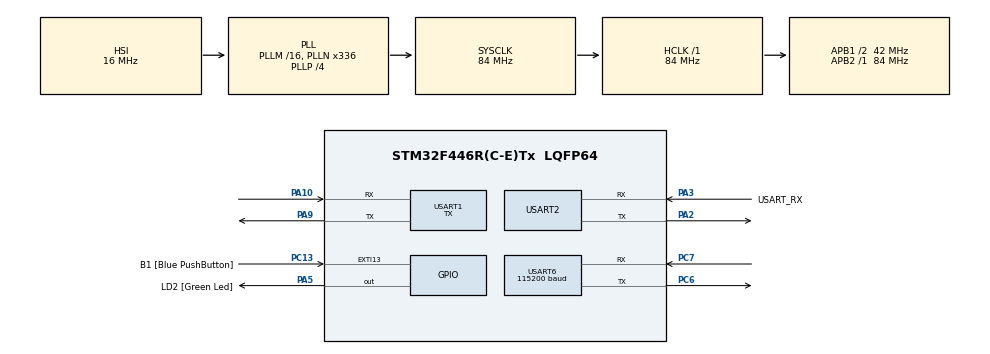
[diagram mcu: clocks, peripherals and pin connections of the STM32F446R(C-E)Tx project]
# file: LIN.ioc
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Mcu.Family=STM32F4
Mcu.Name=STM32F446R(C-E)Tx
Mcu.Package=LQFP64
NVIC.EXTI15_10_IRQn=true\:0\:0\:false\:false\:true\:true\:true
NVIC.PriorityGroup=NVIC_PRIORITYGROUP_0
NVIC.USART2_IRQn=true\:0\:0\:false\:false\:true\:true\:true
NVIC.USART6_IRQn=true\:0\:0\:false\:false\:true\:true\:true
PA10.Mode=LIN
PA10.Signal=USART1_RX
PA13.GPIO_Label=TMS
PA13.Mode=Serial_Wire
PA13.Signal=SYS_JTMS-SWDIO
PA14.GPIO_Label=TCK
PA14.Mode=Serial_Wire
PA14.Signal=SYS_JTCK-SWCLK
PA2.Mode=Asynchronous
PA2.Signal=USART2_TX
PA3.GPIO_Label=USART_RX
PA3.Mode=Asynchronous
PA3.Signal=USART2_RX
PA5.GPIO_Label=LD2 [Green Led]
PA5.Signal=GPIO_Output
PA9.Mode=LIN
PA9.Signal=USART1_TX
PB3.GPIO_Label=SWO
PB3.Signal=SYS_JTDO-SWO
PC13.GPIO_Label=B1 [Blue PushButton]
PC13.GPIO_ModeDefaultEXTI=GPIO_MODE_IT_FALLING
PC13.Signal=GPXTI13
PC14-OSC32_IN.Mode=LSE-External-Oscillator
PC14-OSC32_IN.Signal=RCC_OSC32_IN
PC15-OSC32_OUT.Mode=LSE-External-Oscillator
PC15-OSC32_OUT.Signal=RCC_OSC32_OUT
PC6.Mode=LIN
PC6.Signal=USART6_TX
PC7.Mode=LIN
PC7.Signal=USART6_RX
PH0-OSC_IN.Mode=HSE-External-Oscillator
PH0-OSC_IN.Signal=RCC_OSC_IN
PH1-OSC_OUT.Mode=HSE-External-Oscillator
PH1-OSC_OUT.Signal=RCC_OSC_OUT
ProjectManager.HeapSize=0x200
ProjectManager.StackSize=0x400
ProjectManager.TargetToolchain=STM32CubeIDE
RCC.48MHZClocksFreq_Value=84000000
RCC.AHBFreq_Value=84000000
RCC.APB1CLKDivider=RCC_HCLK_DIV2
RCC.APB1Freq_Value=42000000
RCC.APB1TimFreq_Value=84000000
RCC.APB2Freq_Value=84000000
RCC.APB2TimFreq_Value=84000000
RCC.CortexFreq_Value=84000000
RCC.FLatency-AdvancedSettings=FLASH_LATENCY_2
RCC.HCLKFreq_Value=84000000
RCC.HSE_VALUE=8000000
RCC.HSI_VALUE=16000000
RCC.PLLN=336
RCC.PLLP=RCC_PLLP_DIV4
RCC.SYSCLKFreq_VALUE=84000000
RCC.SYSCLKSource=RCC_SYSCLKSOURCE_PLLCLK
RCC.USBFreq_Value=168000000
RCC.VCOOutputFreq_Value=336000000
USART1.Mode=MODE_TX
USART1.VirtualMode=VM_ASYNC
USART2.VirtualMode=VM_ASYNC
USART6.BaudRate=115200
USART6.Mode=MODE_RX
USART6.Parity=PARITY_EVEN
USART6.VirtualMode=VM_ASYNC
board=NUCLEO-F446RE

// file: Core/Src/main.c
/* USER CODE BEGIN Header */
/**
  ******************************************************************************
  * @file           : main.c
  * @brief          : Main program body
  ******************************************************************************
  * @attention
  *
  * <h2><center>&copy; Copyright (c) 2020 STMicroelectronics.
  * All rights reserved.</center></h2>
  *
  * This software component is licensed by ST under BSD 3-Clause license,
  * the "License"; You may not use this file except in compliance with the
  * License. You may obtain a copy of the License at:
  *                        opensource.org/licenses/BSD-3-Clause
  *
  ******************************************************************************
  */
/* USER CODE END Header */

#include "main.h"

/* USER CODE BEGIN PM */
#define BUFFER_SIZE	100
/* USER CODE END PM */

UART_HandleTypeDef huart1;
UART_HandleTypeDef huart2;
UART_HandleTypeDef huart6;

/* USER CODE BEGIN PV */

char in[BUFFER_SIZE];
char out[BUFFER_SIZE];

int size_out = -1;
int size_in = -1;

int sizeReceived = 0;

/* USER CODE END PV */

void SystemClock_Config(void);
static void MX_GPIO_Init(void);
static void MX_USART1_UART_Init(void);
static void MX_USART6_UART_Init(void);
static void MX_USART2_UART_Init(void);

int main(void)
{

  /* MCU Configuration--------------------------------------------------------*/

  /* Reset of all peripherals, Initializes the Flash interface and the Systick. */
  HAL_Init();

  /* Configure the system clock */
  SystemClock_Config();

  /* Initialize all configured peripherals */
  MX_GPIO_Init();
  MX_USART1_UART_Init();
  MX_USART6_UART_Init();
  MX_USART2_UART_Init();
  /* USER CODE BEGIN 2 */

  srand(time(NULL));

  terminalPrintln("========================================================================================");
  terminalPrintln("Premi il bottone USER per accendere il LED verde.");
  terminalPrintln("Quando il LED è acceso, si inviano randomicamente i nostri nomi e matricole via UART1");
  terminalPrintln("e verranno poi stampati nel terminale inviandole tramite UART2.");
  terminalPrintln("========================================================================================");

  /* USER CODE END 2 */

  /* Infinite loop */
  /* USER CODE BEGIN WHILE */

  while (1)
  {
	  if(HAL_GPIO_ReadPin(GPIOA, GPIO_PIN_5) == GPIO_PIN_SET) {

		  HAL_Delay(1000);

		  int randomNumber = rand() % 100;     // from 0 to 99

		  if(randomNumber<25) {
			  sprintf(out, "ROSA NUZZO M63000917");
		  } else if(randomNumber>=25 && randomNumber<50) {
			  sprintf(out, "MARA MORABITO M63000910");
		  } else if(randomNumber>=50 && randomNumber<75) {
			  sprintf(out, "GIUSEPPE D'ALTERIO M63000880");
		  } else if(randomNumber>=75 && randomNumber<100) {
			  sprintf(out, "FERNANDO DI COSTANZO M63000925");
		  }

		  // Lunghezza stringa + '\0'
		  size_out = strlen(out) + 1;

		  // Receive della dimensione del dato
		  HAL_UART_Receive_IT(&huart6, (uint8_t*)&size_in, sizeof(int));

		  // Transmit della dimensione del dato
		  HAL_UART_Transmit(&huart1, (uint8_t*)&size_out, sizeof(int), 0xFFFF);

		  // Transmit del dato
		  HAL_UART_Transmit(&huart1, (uint8_t*)out, size_out*sizeof(char), 0xFFFF);

	  }
    /* USER CODE END WHILE */

  }
}

void SystemClock_Config(void)
{
  RCC_OscInitTypeDef RCC_OscInitStruct = {0};
  RCC_ClkInitTypeDef RCC_ClkInitStruct = {0};

  /** Configure the main internal regulator output voltage
  */
  __HAL_RCC_PWR_CLK_ENABLE();
  __HAL_PWR_VOLTAGESCALING_CONFIG(PWR_REGULATOR_VOLTAGE_SCALE3);
  /** Initializes the CPU, AHB and APB busses clocks
  */
  RCC_OscInitStruct.OscillatorType = RCC_OSCILLATORTYPE_HSI;
  RCC_OscInitStruct.HSIState = RCC_HSI_ON;
  RCC_OscInitStruct.HSICalibrationValue = RCC_HSICALIBRATION_DEFAULT;
  RCC_OscInitStruct.PLL.PLLState = RCC_PLL_ON;
  RCC_OscInitStruct.PLL.PLLSource = RCC_PLLSOURCE_HSI;
  RCC_OscInitStruct.PLL.PLLM = 16;
  RCC_OscInitStruct.PLL.PLLN = 336;
  RCC_OscInitStruct.PLL.PLLP = RCC_PLLP_DIV4;
  RCC_OscInitStruct.PLL.PLLQ = 2;
  RCC_OscInitStruct.PLL.PLLR = 2;
  if (HAL_RCC_OscConfig(&RCC_OscInitStruct) != HAL_OK)
  {
    Error_Handler();
  }
  /** Initializes the CPU, AHB and APB busses clocks
  */
  RCC_ClkInitStruct.ClockType = RCC_CLOCKTYPE_HCLK|RCC_CLOCKTYPE_SYSCLK
                              |RCC_CLOCKTYPE_PCLK1|RCC_CLOCKTYPE_PCLK2;
  RCC_ClkInitStruct.SYSCLKSource = RCC_SYSCLKSOURCE_PLLCLK;
  RCC_ClkInitStruct.AHBCLKDivider = RCC_SYSCLK_DIV1;
  RCC_ClkInitStruct.APB1CLKDivider = RCC_HCLK_DIV2;
  RCC_ClkInitStruct.APB2CLKDivider = RCC_HCLK_DIV1;

  if (HAL_RCC_ClockConfig(&RCC_ClkInitStruct, FLASH_LATENCY_2) != HAL_OK)
  {
    Error_Handler();
  }
}

static void MX_USART1_UART_Init(void)
{

  huart1.Instance = USART1;
  huart1.Init.BaudRate = 115200;
  huart1.Init.WordLength = UART_WORDLENGTH_8B;
  huart1.Init.StopBits = UART_STOPBITS_1;
  huart1.Init.Parity = UART_PARITY_NONE;
  huart1.Init.Mode = UART_MODE_TX;
  huart1.Init.HwFlowCtl = UART_HWCONTROL_NONE;
  huart1.Init.OverSampling = UART_OVERSAMPLING_16;
  if (HAL_LIN_Init(&huart1, UART_LINBREAKDETECTLENGTH_10B) != HAL_OK)
  {
    Error_Handler();
  }

}

static void MX_USART2_UART_Init(void)
{

  huart2.Instance = USART2;
  huart2.Init.BaudRate = 115200;
  huart2.Init.WordLength = UART_WORDLENGTH_8B;
  huart2.Init.StopBits = UART_STOPBITS_1;
  huart2.Init.Parity = UART_PARITY_NONE;
  huart2.Init.Mode = UART_MODE_TX_RX;
  huart2.Init.HwFlowCtl = UART_HWCONTROL_NONE;
  huart2.Init.OverSampling = UART_OVERSAMPLING_16;
  if (HAL_UART_Init(&huart2) != HAL_OK)
  {
    Error_Handler();
  }

}

static void MX_USART6_UART_Init(void)
{

  huart6.Instance = USART6;
  huart6.Init.BaudRate = 115200;
  huart6.Init.WordLength = UART_WORDLENGTH_8B;
  huart6.Init.StopBits = UART_STOPBITS_1;
  huart6.Init.Parity = UART_PARITY_EVEN;
  huart6.Init.Mode = UART_MODE_RX;
  huart6.Init.HwFlowCtl = UART_HWCONTROL_NONE;
  huart6.Init.OverSampling = UART_OVERSAMPLING_16;
  if (HAL_LIN_Init(&huart6, UART_LINBREAKDETECTLENGTH_10B) != HAL_OK)
  {
    Error_Handler();
  }

}

static void MX_GPIO_Init(void)
{
  GPIO_InitTypeDef GPIO_InitStruct = {0};

  /* GPIO Ports Clock Enable */
  __HAL_RCC_GPIOC_CLK_ENABLE();
  __HAL_RCC_GPIOH_CLK_ENABLE();
  __HAL_RCC_GPIOA_CLK_ENABLE();
  __HAL_RCC_GPIOB_CLK_ENABLE();

  /*Configure GPIO pin Output Level */
  HAL_GPIO_WritePin(LD2_GPIO_Port, LD2_Pin, GPIO_PIN_RESET);

  /*Configure GPIO pin : B1_Pin */
  GPIO_InitStruct.Pin = B1_Pin;
  GPIO_InitStruct.Mode = GPIO_MODE_IT_FALLING;
  GPIO_InitStruct.Pull = GPIO_NOPULL;
  HAL_GPIO_Init(B1_GPIO_Port, &GPIO_InitStruct);

  /*Configure GPIO pin : LD2_Pin */
  GPIO_InitStruct.Pin = LD2_Pin;
  GPIO_InitStruct.Mode = GPIO_MODE_OUTPUT_PP;
  GPIO_InitStruct.Pull = GPIO_NOPULL;
  GPIO_InitStruct.Speed = GPIO_SPEED_FREQ_LOW;
  HAL_GPIO_Init(LD2_GPIO_Port, &GPIO_InitStruct);

  /* EXTI interrupt init*/
  HAL_NVIC_SetPriority(EXTI15_10_IRQn, 0, 0);
  HAL_NVIC_EnableIRQ(EXTI15_10_IRQn);

}

/* USER CODE BEGIN 4 */
void terminalPrintln(const char* str) {

	char buffer[500];
	sprintf(buffer, "%s\r\n", str);

	HAL_UART_Transmit(&huart2, (uint8_t*)buffer, strlen(buffer), 0xFFFF);

}

/**
 * Callback Receive completed per UART
 */
void HAL_UART_RxCpltCallback(UART_HandleTypeDef *huart) {

	if(huart == &huart6) {

		if(sizeReceived==0) {

			sizeReceived = 1;

			char buff[250];
			sprintf(buff, "[USART6] Size received: %d", size_in);
			terminalPrintln(buff);

			HAL_UART_Receive_IT(&huart6, (uint8_t*)in, size_in*sizeof(char));

		} else {

			sizeReceived = 0;

			char *buff;
			buff = (char*) malloc(size_in*sizeof(char));
			sprintf(buff, "[USART6] Received: %s", in);
			terminalPrintln(buff);

		}

	}

}

/* USER CODE END 4 */

void Error_Handler(void)
{
}

/************************ (C) COPYRIGHT STMicroelectronics *****END OF FILE****/
